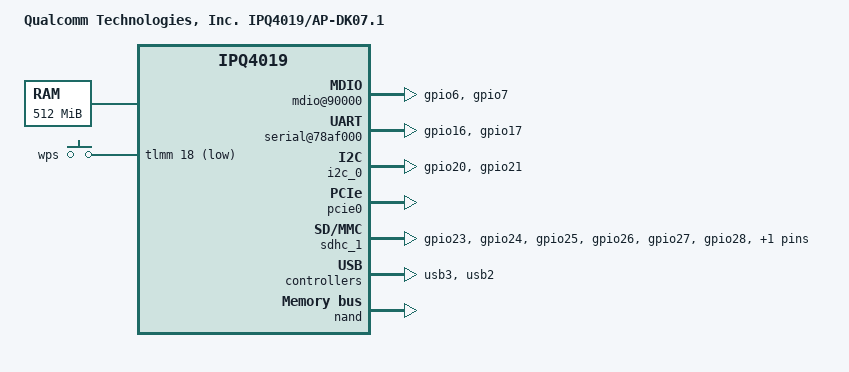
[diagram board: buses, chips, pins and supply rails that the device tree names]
/* Copyright (c) 2015-2016, The Linux Foundation. All rights reserved.
 *
 * Permission to use, copy, modify, and/or distribute this software for any
 * purpose with or without fee is hereby granted, provided that the above
 * copyright notice and this permission notice appear in all copies.
 *
 * THE SOFTWARE IS PROVIDED "AS IS" AND THE AUTHOR DISCLAIMS ALL WARRANTIES
 * WITH REGARD TO THIS SOFTWARE INCLUDING ALL IMPLIED WARRANTIES OF
 * MERCHANTABILITY AND FITNESS. IN NO EVENT SHALL THE AUTHOR BE LIABLE FOR
 * ANY SPECIAL, DIRECT, INDIRECT, OR CONSEQUENTIAL DAMAGES OR ANY DAMAGES
 * WHATSOEVER RESULTING FROM LOSS OF USE, DATA OR PROFITS, WHETHER IN AN
 * ACTION OF CONTRACT, NEGLIGENCE OR OTHER TORTIOUS ACTION, ARISING OUT OF
 * OR IN CONNECTION WITH THE USE OR PERFORMANCE OF THIS SOFTWARE.
 *
 */

#include "qcom-ipq4019.dtsi"
#include <dt-bindings/input/input.h>
#include <dt-bindings/gpio/gpio.h>

/ {
	model = "Qualcomm Technologies, Inc. IPQ4019/AP-DK07.1";
	compatible = "qcom,ipq4019";

	memory {
		device_type = "memory";
		reg = <0x80000000 0x20000000>; /* 512MB */
	};

	chosen {
		bootargs-append = " clk_ignore_unused";
	};

	aliases {
		sdhc1 = &sdhc_1;
	};

	soc {
		pinctrl@0x01000000 {
			mdio_pins: mdio_pinmux {
				mux_1 {
					pins = "gpio6";
					function = "mdio0";
					bias-pull-up;
				};
				mux_2 {
					pins = "gpio7";
					function = "mdc";
					bias-pull-up;
				};
			};

			serial_0_pins: serial0_pinmux {
				mux {
					pins = "gpio16", "gpio17";
					function = "blsp_uart0";
					bias-disable;
				};
			};

			spi_1_pins: spi_1_pinmux {
				mux {
					pins = "gpio44", "gpio46", "gpio47";
					function = "blsp_spi1";
					bias-disable;
				};
				host_int {
					pins = "gpio42";
					function = "gpio";
					input;
				};
				cs {
					pins = "gpio45";
					function = "gpio";
					bias-pull-up;
				};
				wake {
					pins = "gpio31";
					function = "gpio";
					output-high;
				};
				reset {
					pins = "gpio49";
					function = "gpio";
					output-high;
				};
			};

			i2c_0_pins: i2c_0_pinmux {
				mux {
					pins = "gpio20", "gpio21";
					function = "blsp_i2c0";
					bias-disable;
				};
			};

			sd_0_pins: sd_0_pinmux {
				sd0 {
					pins = "gpio23";
					function = "sdio0";
					pull-res = <RES_35_KOHM>;
					drive-type = <DRV_TYPE_C>;
					vm-enable;
				};
				sd1 {
					pins = "gpio24";
					function = "sdio1";
					pull-res = <RES_35_KOHM>;
					drive-type = <DRV_TYPE_C>;
					vm-enable;
				};
				sd2 {
					pins = "gpio25";
					function = "sdio2";
					pull-res = <RES_35_KOHM>;
					drive-type = <DRV_TYPE_C>;
					vm-enable;
				};
				sd3 {
					pins = "gpio26";
					function = "sdio3";
					pull-res = <RES_35_KOHM>;
					drive-type = <DRV_TYPE_C>;
					vm-enable;
				};
				sdclk {
					pins = "gpio27";
					function = "sdio_clk";
					pull-res = <RES_35_KOHM>;
					drive-type = <DRV_TYPE_A>;
					vm-enable;
				};
				sdcmd {
					pins = "gpio28";
					function = "sdio_cmd";
					pull-res = <RES_35_KOHM>;
					drive-type = <DRV_TYPE_C>;
					vm-enable;
				};
			};

			sd_1_pins: sd_1_pinmux {
				sd0 {
					pins = "gpio23";
					function = "sdio0";
					pull-res = <RES_35_KOHM>;
					drive-type = <DRV_TYPE_D>;
					vm-enable;
				};
				sd1 {
					pins = "gpio24";
					function = "sdio1";
					pull-res = <RES_35_KOHM>;
					drive-type = <DRV_TYPE_D>;
					vm-enable;
				};
				sd2 {
					pins = "gpio25";
					function = "sdio2";
					pull-res = <RES_35_KOHM>;
					drive-type = <DRV_TYPE_D>;
					vm-enable;
				};
				sd3 {
					pins = "gpio26";
					function = "sdio3";
					pull-res = <RES_35_KOHM>;
					drive-type = <DRV_TYPE_D>;
					vm-enable;
				};
				sdclk {
					pins = "gpio27";
					function = "sdio_clk";
					pull-res = <RES_35_KOHM>;
					drive-type = <DRV_TYPE_D>;
					vm-enable;
				};
				sdcmd {
					pins = "gpio28";
					function = "sdio_cmd";
					pull-res = <RES_35_KOHM>;
					drive-type = <DRV_TYPE_D>;
					vm-enable;
				};
			};

		};

		mdio@90000 {
			status = "ok";
			pinctrl-0 = <&mdio_pins>;
			pinctrl-names = "default";
			phy-reset-gpio = <&tlmm 41 0>;
			bias-disable;
		};

		serial@78af000 {
			pinctrl-0 = <&serial_0_pins>;
			pinctrl-names = "default";
			status = "ok";
		};

		spi_1: spi@78b6000 { /* BLSP1 QUP2 */
			pinctrl-0 = <&spi_1_pins>;
			pinctrl-names = "default";
			status = "disabled";

			spidev1: spi@1 {
				compatible = "qca,spidev";
				reg = <0>;
				spi-max-frequency = <24000000>;
			};
		};

		i2c_0: i2c@78b7000 { /* BLSP1 QUP2 */
			pinctrl-0 = <&i2c_0_pins>;
			pinctrl-names = "default";
			status = "ok";
		};

		pcie0: pci@40000000 {
			status = "ok";
			perst-gpio = <&tlmm 38 0x1>;
		};

		ess-switch@c000000 {
			switch_mac_mode = <0x0>; /* mac mode for RGMII RMII */
			switch_initvlas = <
				0x0007c 0x54 /* PORT0_STATUS */
			>;
		};

		vccq_sd0: regulator@0 {
			compatible = "qcom,regulator-ipq40xx";
			regulator-name = "SD0 VccQ";
			regulator-min-microvolt = <1800000>;
			regulator-max-microvolt = <3000000>;
			states = <3000000 0x3
				1800000 0x1>;
			reg = <0x01948000 0x4>;
			mask = <0x3>;
		};

		sdhc_1: sdhci@7824000{
			status = "ok";
			qcom,bus-speed-mode = "HS200_1p8v", "DDR_1p8v";
			qcom,clk-rates = <400000 25000000 50000000 100000000 \
					 192000000>;
			pinctrl-0 = <&sd_0_pins>;
			pinctrl-1 = <&sd_1_pins>;
			pinctrl-names = "active", "sleep";
			vqmmc-supply = <&vccq_sd0>;
			cd-gpios = <&tlmm 22 0x1>;
			sd-ldo-gpios = <&tlmm 33 0x1>;
		};

		tcsr: tcsr@194b000 {
			status = "ok";
		};

		usb3_ss_phy: ssphy@0 {
			status = "ok";
		};

		usb3_hs_phy: hsphy@a6000 {
			status = "ok";
		};

		usb2_hs_phy: hsphy@a8000 {
			status = "ok";
		};

		usb3: usb3@8a00000 {
			status = "ok";
		};

		usb2: usb2@6000000 {
			status = "ok";
		};

		qpic_bam: dma@7984000{
			status = "ok";
		};

		nand: qpic-nand@79b0000 {
			status = "ok";
		};

		gpio_keys {
			compatible = "gpio-keys";

			button@1 {
				label = "wps";
				linux,code = <KEY_WPS_BUTTON>;
				gpios = <&tlmm 18 GPIO_ACTIVE_LOW>;
				linux,input-type = <1>;
			};
		};

		wifi0: wifi@a000000 {
			wifi-led-gpios = <&tlmm 32 GPIO_ACTIVE_LOW>;    /* wifi0 led */
			wifi-rssi-gpios = <&tlmm 36 GPIO_ACTIVE_LOW>;   /* wifi0 signal strength led */
		};

		wifi1: wifi@a800000 {
			wifi-led-gpios = <&tlmm 50 GPIO_ACTIVE_LOW>;    /* wifi1 led */
			wifi-rssi-gpios = <&tlmm 39 GPIO_ACTIVE_LOW>;   /* wifi1 signal strength led */
		};
	};
};
